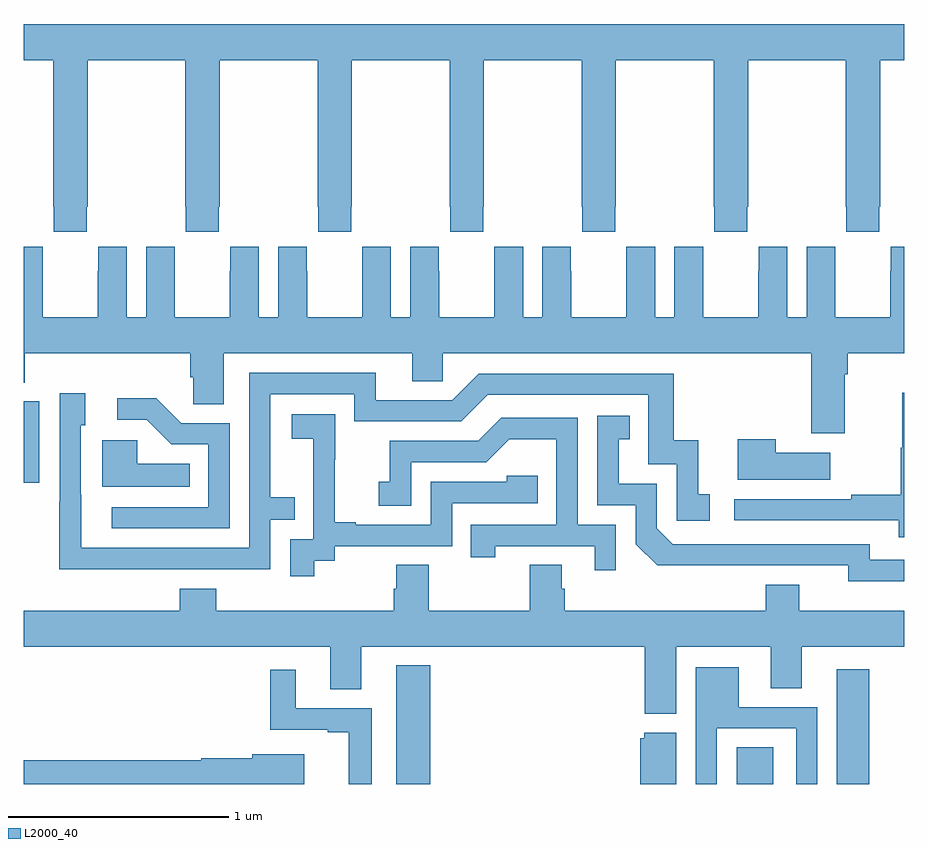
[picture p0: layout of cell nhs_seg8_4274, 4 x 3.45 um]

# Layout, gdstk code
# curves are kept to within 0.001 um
import gdstk
lib = gdstk.Library(unit=1e-6, precision=1e-09)
def R(c, l, rs):  # rectangles x0, y0, x1, y1
    for r in rs: c.add(gdstk.rectangle(r[:2], r[2:], *l))
def P(c, l, *ps):  # polygons
    for p in ps: c.add(gdstk.Polygon(p, *l))
L2000_40 = (2000, 40)

nhs_seg8_4274 = lib.new_cell('nhs_seg8_4274')
R(nhs_seg8_4274, L2000_40, [(374.693,1091.9,374.846,1092.439), (376.238,1091.9,376.405,1092.068), (376.694,1091.9,376.841,1092.421), (373,1093.269,373.071,1093.638)])
P(nhs_seg8_4274, L2000_40, [(373.287,1094.521),(373.29,1094.521),(373.29,1095.188),(373.735,1095.188),(373.735,1094.521),(373.737,1094.521),(373.737,1094.409),(373.887,1094.409),(373.887,1094.521),(373.89,1094.521),(373.89,1095.188),(374.335,1095.188),(374.335,1094.521),(374.337,1094.521),(374.337,1094.409),(374.487,1094.409),(374.487,1094.521),(374.49,1094.521),(374.49,1095.188),(374.935,1095.188),(374.935,1094.521),(374.937,1094.521),(374.937,1094.409),(375.087,1094.409),(375.087,1094.521),(375.09,1094.521),(375.09,1095.188),(375.535,1095.188),(375.535,1094.521),(375.537,1094.521),(375.537,1094.409),(375.687,1094.409),(375.687,1094.521),(375.69,1094.521),(375.69,1095.188),(376.135,1095.188),(376.135,1094.521),(376.137,1094.521),(376.137,1094.409),(376.287,1094.409),(376.287,1094.521),(376.29,1094.521),(376.29,1095.188),(376.735,1095.188),(376.735,1094.521),(376.737,1094.521),(376.737,1094.409),(376.887,1094.409),(376.887,1094.521),(376.89,1094.521),(376.89,1095.188),(377,1095.188),(377,1095.352),(373,1095.352),(373,1095.188),(373.135,1095.188),(373.135,1094.521),(373.137,1094.521),(373.137,1094.409),(373.287,1094.409)],
  [(377,1094.341),(376.938,1094.341),(376.938,1094.228),(376.937,1094.228),(376.937,1094.02),(376.687,1094.02),(376.687,1094.228),(376.686,1094.228),(376.686,1094.341),(376.556,1094.341),(376.556,1094.02),(376.468,1094.02),(376.468,1094.341),(376.338,1094.341),(376.338,1094.228),(376.337,1094.228),(376.337,1094.02),(376.087,1094.02),(376.087,1094.228),(376.086,1094.228),(376.086,1094.341),(375.956,1094.341),(375.956,1094.02),(375.868,1094.02),(375.868,1094.341),(375.738,1094.341),(375.738,1094.228),(375.737,1094.228),(375.737,1094.02),(375.487,1094.02),(375.487,1094.228),(375.486,1094.228),(375.486,1094.341),(375.356,1094.341),(375.356,1094.02),(375.268,1094.02),(375.268,1094.341),(375.138,1094.341),(375.138,1094.228),(375.137,1094.228),(375.137,1094.02),(374.887,1094.02),(374.887,1094.228),(374.886,1094.228),(374.886,1094.341),(374.756,1094.341),(374.756,1094.02),(374.668,1094.02),(374.668,1094.341),(374.538,1094.341),(374.538,1094.228),(374.537,1094.228),(374.537,1094.02),(374.287,1094.02),(374.287,1094.228),(374.286,1094.228),(374.286,1094.341),(374.156,1094.341),(374.156,1094.02),(374.068,1094.02),(374.068,1094.341),(373.938,1094.341),(373.938,1094.228),(373.937,1094.228),(373.937,1094.02),(373.687,1094.02),(373.687,1094.228),(373.686,1094.228),(373.686,1094.341),(373.556,1094.341),(373.556,1094.02),(373.468,1094.02),(373.468,1094.341),(373.338,1094.341),(373.338,1094.228),(373.337,1094.228),(373.337,1094.02),(373.087,1094.02),(373.087,1094.228),(373.086,1094.228),(373.086,1094.341),(373,1094.341),(373,1093.723),(373.004,1093.723),(373.004,1093.856),(373.757,1093.856),(373.757,1093.747),(373.77,1093.747),(373.77,1093.624),(373.909,1093.624),(373.909,1093.856),(374.765,1093.856),(374.765,1093.729),(374.904,1093.729),(374.904,1093.856),(376.577,1093.856),(376.577,1093.494),(376.729,1093.494),(376.729,1093.76),(376.742,1093.76),(376.742,1093.856),(377,1093.856)],
  [(373.625,1092.876),(374.121,1092.876),(374.121,1093.101),(374.231,1093.101),(374.231,1093.202),(374.121,1093.202),(374.121,1093.671),(374.502,1093.671),(374.502,1093.548),(374.988,1093.548),(375.108,1093.668),(375.837,1093.668),(375.837,1093.353),(375.966,1093.353),(375.966,1093.095),(376.117,1093.095),(376.117,1093.215),(376.064,1093.215),(376.064,1093.462),(375.953,1093.462),(375.953,1093.764),(375.066,1093.764),(374.946,1093.644),(374.599,1093.644),(374.599,1093.767),(374.025,1093.767),(374.025,1092.972),(373.261,1092.972),(373.26,1093.53),(373.279,1093.53),(373.279,1093.675),(373.164,1093.675),(373.164,1093.181),(373.162,1093.181),(373.162,1092.875)],
  [(377,1093.678),(376.99,1093.678),(376.99,1093.428),(376.983,1093.428),(376.983,1093.214),(376.759,1093.214),(376.759,1093.194),(376.227,1093.194),(376.227,1093.098),(376.975,1093.098),(376.975,1093.02),(377,1093.02)],
  [(373.935,1093.539),(373.716,1093.539),(373.603,1093.652),(373.425,1093.652),(373.425,1093.554),(373.559,1093.554),(373.67,1093.443),(373.839,1093.443),(373.839,1093.158),(373.401,1093.158),(373.401,1093.062),(373.935,1093.062)],
  [(374.32,1092.913),(374.412,1092.913),(374.412,1092.981),(374.946,1092.981),(374.946,1093.176),(375.335,1093.176),(375.335,1093.299),(375.195,1093.299),(375.195,1093.272),(374.85,1093.272),(374.85,1093.077),(374.509,1093.077),(374.509,1093.09),(374.414,1093.09),(374.414,1093.373),(374.415,1093.373),(374.415,1093.579),(374.217,1093.579),(374.217,1093.469),(374.315,1093.469),(374.315,1093.241),(374.316,1093.241),(374.316,1093.011),(374.211,1093.011),(374.211,1092.843),(374.32,1092.843)],
  [(377,1092.918),(376.842,1092.918),(376.842,1092.99),(375.948,1092.99),(375.876,1093.062),(375.876,1093.263),(375.703,1093.263),(375.703,1093.467),(375.752,1093.467),(375.752,1093.573),(375.606,1093.573),(375.606,1093.167),(375.78,1093.167),(375.78,1092.99),(375.878,1092.893),(376.746,1092.894),(376.746,1092.821),(377,1092.821)],
  [(375.69,1093.077),(375.516,1093.077),(375.516,1093.563),(375.17,1093.563),(375.065,1093.458),(374.662,1093.458),(374.662,1093.273),(374.613,1093.273),(374.613,1093.164),(374.76,1093.164),(374.76,1093.362),(375.102,1093.362),(375.206,1093.466),(375.42,1093.466),(375.42,1093.077),(375.031,1093.077),(375.031,1092.93),(375.142,1092.93),(375.142,1092.981),(375.593,1092.981),(375.593,1092.87),(375.69,1092.87)],
  [(376.663,1093.405),(376.415,1093.405),(376.415,1093.465),(376.244,1093.465),(376.244,1093.283),(376.663,1093.283)],
  [(373.754,1093.354),(373.515,1093.354),(373.515,1093.462),(373.358,1093.462),(373.358,1093.25),(373.754,1093.25)],
  [(375.964,1092.524),(376.394,1092.524),(376.394,1092.334),(376.534,1092.334),(376.534,1092.524),(377,1092.524),(377,1092.688),(376.522,1092.688),(376.522,1092.805),(376.37,1092.805),(376.37,1092.688),(375.458,1092.688),(375.458,1092.786),(375.445,1092.786),(375.445,1092.896),(375.298,1092.896),(375.298,1092.688),(374.841,1092.688),(374.841,1092.896),(374.693,1092.896),(374.693,1092.786),(374.681,1092.786),(374.681,1092.688),(373.874,1092.688),(373.874,1092.787),(373.709,1092.787),(373.709,1092.688),(373,1092.688),(373,1092.524),(374.393,1092.524),(374.393,1092.33),(374.533,1092.33),(374.533,1092.524),(375.821,1092.524),(375.821,1092.218),(375.964,1092.218)],
  [(376.149,1092.153),(376.509,1092.153),(376.509,1091.9),(376.605,1091.9),(376.605,1092.249),(376.249,1092.249),(376.249,1092.43),(376.053,1092.43),(376.053,1091.9),(376.149,1091.9)],
  [(374.581,1092.243),(374.236,1092.243),(374.236,1092.418),(374.119,1092.418),(374.119,1092.147),(374.381,1092.147),(374.381,1092.135),(374.477,1092.135),(374.477,1091.9),(374.581,1091.9)],
  [(375.964,1092.133),(375.819,1092.133),(375.819,1092.108),(375.8,1092.108),(375.8,1091.9),(375.964,1091.9)],
  [(374.275,1092.034),(374.039,1092.034),(374.039,1092.016),(373.806,1092.016),(373.806,1092.008),(373,1092.008),(373,1091.9),(374.275,1091.9)])

lib.write_gds('nhs_seg8_4274.gds')
